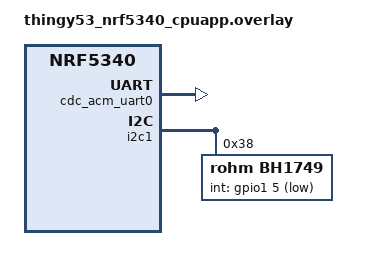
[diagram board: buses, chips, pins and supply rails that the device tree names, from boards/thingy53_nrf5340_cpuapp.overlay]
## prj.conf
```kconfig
# STEP 2 - Enable the I2C driver
CONFIG_I2C=y
# STEP 4.2 - Enable floating point format specifiers
CONFIG_CBPRINTF_FP_SUPPORT=y
```

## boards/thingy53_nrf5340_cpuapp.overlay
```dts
/*
 * Copyright (c) 2021 Nordic Semiconductor ASA
 *
 * SPDX-License-Identifier: LicenseRef-Nordic-5-Clause
 */

/ {
	chosen {
		nordic,pm-ext-flash = &mx25r64;
	};
};

/*
 * This section is used to enable a partition which is used through the flash API
 * but which is in reality stored in RAM. This is done to load data from
 * external flash to the network core. Since the network core cannot access
 * the external flash directly, the data is buffered in RAM before being
 * copied by the network core to the network core flash.
 *
 * The partition must be enabled by the application configuration to prevent
 * bus faults when mcumgr tries to access simulated partition with network core
 * image data.
 */

/ {
	soc {
		/* Add a flash controller which has the compatible
		 * 'zephyr,sim-flash'. This will ensure that the flash
		 * simulator can use it. None of the other properties in this
		 * node is used for anything.
		 */
		nordic_ram_flash_controller: nordic_ram-flash-controller@0 {
			compatible = "zephyr,sim-flash";
			reg = <0x00000000 DT_SIZE_K(40)>;
			#address-cells = <1>;
			#size-cells = <1>;
			erase-value = <0xff>;
			label = "nordic_ram_flash_flash_controller";

			/* This node label must match that used in the flash
			 * simulator.
			 */
			flash_sim0: flash_sim@0 {
				status = "okay";
				compatible = "soc-nv-flash";
				label = "simulated_flash";
				erase-block-size = <4096>;
				write-block-size = <4>;
				reg = <0x00000000 DT_SIZE_K(256)>;

				partitions {
					compatible = "fixed-partitions";
					#address-cells = <1>;
					#size-cells = <1>;

					/* This partition must be defined for
					 * MCUboot to find the partition ID
					 * of the primary slot for image 1,
					 * which is stored in this partition.
					 */
					slot2_partition: partition@0 {
						label = "image-2";
						reg = <0x00000000 0x00000A000>;
					};
				};
			};
		};
	};

	chosen {
		zephyr,console = &cdc_acm_uart0;
	};
};

&zephyr_udc0 {
	cdc_acm_uart0: cdc_acm_uart0 {
		compatible = "zephyr,cdc-acm-uart";
		label = "CDC_ACM_0";
	};
};

&i2c1{
	bh1749: bh1749@38 {
			compatible = "rohm,bh1749";
			label = "BH1749";
			reg = <0x38>;
			int-gpios = <&gpio1 5 (GPIO_PULL_UP |GPIO_ACTIVE_LOW)>;
	};
};
```

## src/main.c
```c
/*
 * Copyright (c) 2016 Intel Corporation
 *
 * SPDX-License-Identifier: Apache-2.0
 */

#include <zephyr/kernel.h>
#include <zephyr/device.h>
#include <zephyr/devicetree.h>
/* STEP 3 - Include the header file of the I2C API */
#include <zephyr/drivers/i2c.h>
/* STEP 4.1 - Include the header file of printk() */
#include <zephyr/sys/printk.h>
/* 1000 msec = 1 sec */
#define SLEEP_TIME_MS   1000

/* STEP 8 - Define the the addresses of relevant sensor registers and settings */
#define BH1749_SYSTEM_CONTROL                           0x40
#define BH1749_MODE_CONTROL1                            0x41
#define BH1749_MODE_CONTROL2                            0x42
#define BH1749_RED_DATA_LSB                             0x50
#define BH1749_MODE_CONTROL2_RGB_EN_ENABLE              BIT(4)
/* IR Gain: 1x, RGB Gain: 1x, Measurement mode: 120ms mode */
#define BH1749_MODE_CONTROL1_DEFAULTS                   0x2A

/* STEP 6 - Get the node identifier of the sensor */
#define I2C_NODE DT_NODELABEL(bh1749)

int main(void)
{

	int ret;

/* STEP 7 - Retrieve the API-specific device structure and make sure that the device is ready to use  */
	static const struct i2c_dt_spec dev_i2c = I2C_DT_SPEC_GET(I2C_NODE);
	if (!device_is_ready(dev_i2c.bus)) {
		printk("I2C bus %s is not ready!\n\r",dev_i2c.bus->name);
		return -1;
	}

/* STEP 9 - Setup the sensor by writing the value 0x2A to the MODE_CONTROL1 register 
0x2A Means : IR Gain: 1x, RGB Gain: 1x, Measurement mode: 120ms mode
*/
	char buff1[] = {BH1749_MODE_CONTROL1,BH1749_MODE_CONTROL1_DEFAULTS};
	ret = i2c_write_dt(&dev_i2c,buff1,sizeof(buff1));
	if(ret != 0){
			printk("Failed to write to I2C device address 0x%c at Reg. 0x%c\n",dev_i2c.addr,BH1749_MODE_CONTROL1);
		}
/* STEP 10 - Enable measurement by writing 1 to bit 4 of the MODE_CONTROL2 register */
	char buff2[] = {BH1749_MODE_CONTROL2,BH1749_MODE_CONTROL2_RGB_EN_ENABLE};
	ret = i2c_write_dt(&dev_i2c,buff2,sizeof(buff2));
	if(ret != 0){
		printk("Failed to write to I2C device address 0x%c at Reg. 0x%c\n",dev_i2c.addr,BH1749_MODE_CONTROL2);
	}

	while (1) {
/* STEP 11 - Read the RGB values from the sensor */
		uint8_t rgb_value[6]= {0};//3 colour channels x 2 = 6
		//Do a burst read of 6 bytes as each color channel is 2 bytes. 
		ret = i2c_burst_read_dt(&dev_i2c, BH1749_RED_DATA_LSB,rgb_value,sizeof(rgb_value));
		if(ret != 0){
			printk("Failed to read to I2C device address 0x%c at Reg. 0x%c\n",dev_i2c.addr,BH1749_RED_DATA_LSB);
		}
		//Print reading to console  
		printk("_______________________________\n");
		printk("Red Value:\t %d\n", (rgb_value[0] | rgb_value[1] << 8));
		printk("Green Value:\t %d\n", (rgb_value[2] | rgb_value[3] << 8));
		printk("Blue Value:\t %d\n", (rgb_value[4] | rgb_value[5] << 8));

		k_msleep(SLEEP_TIME_MS);
	}
}
```
